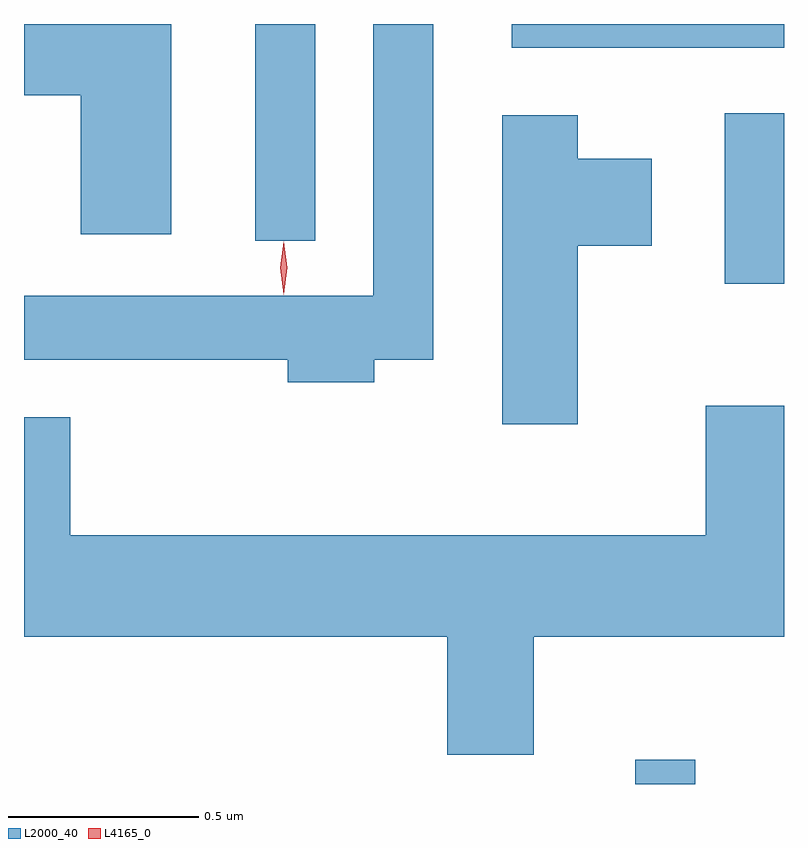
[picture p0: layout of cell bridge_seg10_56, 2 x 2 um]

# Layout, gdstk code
import gdstk
lib = gdstk.Library(unit=1e-6, precision=1e-09)
def R(c, l, rs):  # rectangles x0, y0, x1, y1
    for r in rs: c.add(gdstk.rectangle(r[:2], r[2:], *l))
def P(c, l, *ps):  # polygons
    for p in ps: c.add(gdstk.Polygon(p, *l))
L2000_40 = (2000, 40)
L4165_0 = (4165, 0)

bridge_seg10_56 = lib.new_cell('bridge_seg10_56')
R(bridge_seg10_56, L2000_40, [(1597.226,2208.989,1597.384,2209.053), (1597.461,2210.306,1597.617,2210.754), (1596.226,2210.418,1596.384,2210.989), (1596.901,2210.926,1597.617,2210.989)])
P(bridge_seg10_56, L2000_40, [(1596.539,2210.106),(1596.694,2210.106),(1596.694,2210.989),(1596.536,2210.989),(1596.536,2210.274),(1595.617,2210.274),(1595.617,2210.106),(1596.311,2210.106),(1596.311,2210.046),(1596.539,2210.046)],
  [(1596.004,2210.989),(1595.617,2210.989),(1595.617,2210.801),(1595.766,2210.801),(1595.766,2210.436),(1596.004,2210.436)],
  [(1597.074,2210.406),(1597.269,2210.406),(1597.269,2210.634),(1597.074,2210.634),(1597.074,2210.749),(1596.876,2210.749),(1596.876,2209.936),(1597.074,2209.936)],
  [(1596.959,2209.376),(1597.617,2209.376),(1597.617,2209.984),(1597.411,2209.984),(1597.411,2209.644),(1595.739,2209.644),(1595.739,2209.954),(1595.617,2209.954),(1595.617,2209.376),(1596.731,2209.376),(1596.731,2209.066),(1596.959,2209.066)])
P(bridge_seg10_56, L4165_0, [(1596.3,2210.277),(1596.3,2210.278),(1596.291,2210.347),(1596.3,2210.416),(1596.301,2210.416),(1596.301,2210.416),(1596.31,2210.347),(1596.301,2210.278)])

lib.write_gds('bridge_seg10_56.gds')
